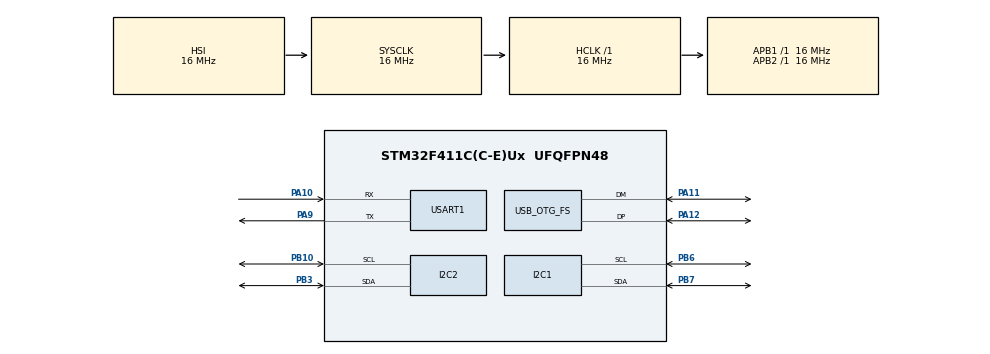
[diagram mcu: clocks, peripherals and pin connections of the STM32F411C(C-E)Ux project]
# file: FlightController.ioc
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FREERTOS.Tasks01=defaultTask,24,128,StartDefaultTask,Default,NULL,Dynamic,NULL,NULL;SensorTask,24,2048,SensorTaskEntry,Default,NULL,Dynamic,NULL,NULL
Mcu.Family=STM32F4
Mcu.Name=STM32F411C(C-E)Ux
Mcu.Package=UFQFPN48
NVIC.OTG_FS_IRQn=true\:5\:0\:false\:false\:true\:true\:false\:true\:true
NVIC.PriorityGroup=NVIC_PRIORITYGROUP_4
NVIC.TIM1_UP_TIM10_IRQn=true\:15\:0\:false\:false\:true\:false\:false\:true\:true
NVIC.TimeBase=TIM1_UP_TIM10_IRQn
NVIC.TimeBaseIP=TIM1
PA10.Mode=Asynchronous
PA10.Signal=USART1_RX
PA11.Mode=Device_Only
PA11.Signal=USB_OTG_FS_DM
PA12.Mode=Device_Only
PA12.Signal=USB_OTG_FS_DP
PA9.Mode=Asynchronous
PA9.Signal=USART1_TX
PB10.Mode=I2C
PB10.Signal=I2C2_SCL
PB3.Mode=I2C
PB3.Signal=I2C2_SDA
PB6.Mode=I2C
PB6.Signal=I2C1_SCL
PB7.Mode=I2C
PB7.Signal=I2C1_SDA
PH0\ -\ OSC_IN.Mode=HSE-External-Oscillator
PH0\ -\ OSC_IN.Signal=RCC_OSC_IN
PH1\ -\ OSC_OUT.Mode=HSE-External-Oscillator
PH1\ -\ OSC_OUT.Signal=RCC_OSC_OUT
ProjectManager.HeapSize=0x200
ProjectManager.StackSize=0x400
ProjectManager.TargetToolchain=CMake
RCC.48MHZClocksFreq_Value=48000000
RCC.AHBFreq_Value=16000000
RCC.APB1Freq_Value=16000000
RCC.APB2Freq_Value=16000000
RCC.CortexFreq_Value=16000000
RCC.HSE_VALUE=25000000
RCC.HSI_VALUE=16000000
RCC.LSE_VALUE=32768
RCC.PLLM=15
RCC.PLLN=144
RCC.PLLQ=5
RCC.SYSCLKFreq_VALUE=16000000
RCC.VCOOutputFreq_Value=240000000
USART1.VirtualMode=VM_ASYNC
USB_DEVICE.CLASS_NAME_FS=CDC
USB_DEVICE.VirtualMode=Cdc
USB_DEVICE.VirtualModeFS=Cdc_FS
USB_OTG_FS.VirtualMode=Device_Only
VP_FREERTOS_VS_CMSIS_V2.Mode=CMSIS_V2
VP_SYS_VS_tim1.Mode=TIM1
VP_USB_DEVICE_VS_USB_DEVICE_CDC_FS.Mode=CDC_FS
board=custom

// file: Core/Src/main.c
/* USER CODE BEGIN Header */
/**
  ******************************************************************************
  * @file           : main.c
  * @brief          : Main program body
  ******************************************************************************
  * @attention
  *
  * Copyright (c) 2026 STMicroelectronics.
  * All rights reserved.
  *
  * This software is licensed under terms that can be found in the LICENSE file
  * in the root directory of this software component.
  * If no LICENSE file comes with this software, it is provided AS-IS.
  *
  ******************************************************************************
  */
/* USER CODE END Header */
#include "main.h"
#include "cmsis_os.h"
#include "usb_device.h"

/* USER CODE BEGIN Includes */

#include "FreeRTOS.h"
#include "usbd_cdc.h"
#include "usbd_cdc_if.h"
#include "GyroData.h"
#include "filter.h"
#include <stdint.h>

#include "i2c_helper.h"

/* USER CODE END Includes */

/* USER CODE BEGIN PD */
//ADDRESS_DEF
#define SENSOR_ADDRESS (0x68 << 1)
#define CHIP_ID 0x00
#define DEVICE_STATUS_REG 0x01
#define SENSOR_STATUS_REG 0x02

#define READ_DELAY 5
/* USER CODE END PD */

I2C_HandleTypeDef hi2c1;
I2C_HandleTypeDef hi2c2;

UART_HandleTypeDef huart1;

/* Definitions for defaultTask */
osThreadId_t defaultTaskHandle;
const osThreadAttr_t defaultTask_attributes = {
  .name = "defaultTask",
  .stack_size = 128 * 4,
  .priority = (osPriority_t) osPriorityNormal,
};
/* Definitions for SensorTask */
osThreadId_t SensorTaskHandle;
const osThreadAttr_t SensorTask_attributes = {
  .name = "SensorTask",
  .stack_size = 2048 * 4,
  .priority = (osPriority_t) osPriorityNormal,
};
/* USER CODE BEGIN PV */

osThreadId_t sensorTask;
const osThreadAttr_t sensorTask_attrs = {
  .name = "sensorTask",
  .stack_size = 2048,
  .priority = (osPriority_t)osPriorityNormal,
};

/* USER CODE END PV */

void SystemClock_Config(void);
static void MX_GPIO_Init(void);
static void MX_I2C1_Init(void);
static void MX_USART1_UART_Init(void);
static void MX_I2C2_Init(void);
void StartDefaultTask(void *argument);
void SensorTaskEntry(void *argument);

/* USER CODE BEGIN PFP */
void SensorTask(void*);
void LogMessage(const char* msg) {
  uint32_t timeout = 100;  // ms
  uint32_t start = HAL_GetTick();

  while(CDC_Transmit_FS((uint8_t*)msg, strlen(msg) - 1) == USBD_BUSY) {
    if (HAL_GetTick() - start > timeout) {
      return;
    }
    vTaskDelay(1);
  }
}
/* USER CODE END PFP */

int main(void)
{

  /* MCU Configuration--------------------------------------------------------*/

  /* Reset of all peripherals, Initializes the Flash interface and the Systick. */
  HAL_Init();

  /* Configure the system clock */
  SystemClock_Config();

  /* Initialize all configured peripherals */
  MX_GPIO_Init();
  MX_I2C1_Init();
  MX_USART1_UART_Init();
  MX_I2C2_Init();
  /* USER CODE BEGIN 2 */
  MX_USB_DEVICE_Init();
  /* USER CODE END 2 */

  /* Init scheduler */
  osKernelInitialize();

  /* Create the thread(s) */
  /* creation of defaultTask */
  defaultTaskHandle = osThreadNew(StartDefaultTask, NULL, &defaultTask_attributes);

  /* creation of SensorTask */
  SensorTaskHandle = osThreadNew(SensorTaskEntry, NULL, &SensorTask_attributes);

  /* Start scheduler */
  osKernelStart();

  /* We should never get here as control is now taken by the scheduler */

  /* Infinite loop */
  while (1)
  {

  }
}

void SystemClock_Config(void)
{
  RCC_OscInitTypeDef RCC_OscInitStruct = {0};
  RCC_ClkInitTypeDef RCC_ClkInitStruct = {0};

  /** Configure the main internal regulator output voltage
  */
  __HAL_RCC_PWR_CLK_ENABLE();
  __HAL_PWR_VOLTAGESCALING_CONFIG(PWR_REGULATOR_VOLTAGE_SCALE1);

  /** Initializes the RCC Oscillators according to the specified parameters
  * in the RCC_OscInitTypeDef structure.
  */
  RCC_OscInitStruct.OscillatorType = RCC_OSCILLATORTYPE_HSI|RCC_OSCILLATORTYPE_HSE;
  RCC_OscInitStruct.HSEState = RCC_HSE_ON;
  RCC_OscInitStruct.HSIState = RCC_HSI_ON;
  RCC_OscInitStruct.HSICalibrationValue = RCC_HSICALIBRATION_DEFAULT;
  RCC_OscInitStruct.PLL.PLLState = RCC_PLL_ON;
  RCC_OscInitStruct.PLL.PLLSource = RCC_PLLSOURCE_HSE;
  RCC_OscInitStruct.PLL.PLLM = 15;
  RCC_OscInitStruct.PLL.PLLN = 144;
  RCC_OscInitStruct.PLL.PLLP = RCC_PLLP_DIV2;
  RCC_OscInitStruct.PLL.PLLQ = 5;
  if (HAL_RCC_OscConfig(&RCC_OscInitStruct) != HAL_OK)
  {
    Error_Handler();
  }

  /** Initializes the CPU, AHB and APB buses clocks
  */
  RCC_ClkInitStruct.ClockType = RCC_CLOCKTYPE_HCLK|RCC_CLOCKTYPE_SYSCLK
                              |RCC_CLOCKTYPE_PCLK1|RCC_CLOCKTYPE_PCLK2;
  RCC_ClkInitStruct.SYSCLKSource = RCC_SYSCLKSOURCE_HSI;
  RCC_ClkInitStruct.AHBCLKDivider = RCC_SYSCLK_DIV1;
  RCC_ClkInitStruct.APB1CLKDivider = RCC_HCLK_DIV1;
  RCC_ClkInitStruct.APB2CLKDivider = RCC_HCLK_DIV1;

  if (HAL_RCC_ClockConfig(&RCC_ClkInitStruct, FLASH_LATENCY_0) != HAL_OK)
  {
    Error_Handler();
  }
}

static void MX_I2C1_Init(void)
{

  hi2c1.Instance = I2C1;
  hi2c1.Init.ClockSpeed = 100000;
  hi2c1.Init.DutyCycle = I2C_DUTYCYCLE_2;
  hi2c1.Init.OwnAddress1 = 0;
  hi2c1.Init.AddressingMode = I2C_ADDRESSINGMODE_7BIT;
  hi2c1.Init.DualAddressMode = I2C_DUALADDRESS_DISABLE;
  hi2c1.Init.OwnAddress2 = 0;
  hi2c1.Init.GeneralCallMode = I2C_GENERALCALL_DISABLE;
  hi2c1.Init.NoStretchMode = I2C_NOSTRETCH_DISABLE;
  if (HAL_I2C_Init(&hi2c1) != HAL_OK)
  {
    Error_Handler();
  }

}

static void MX_I2C2_Init(void)
{

  hi2c2.Instance = I2C2;
  hi2c2.Init.ClockSpeed = 100000;
  hi2c2.Init.DutyCycle = I2C_DUTYCYCLE_2;
  hi2c2.Init.OwnAddress1 = 0;
  hi2c2.Init.AddressingMode = I2C_ADDRESSINGMODE_7BIT;
  hi2c2.Init.DualAddressMode = I2C_DUALADDRESS_DISABLE;
  hi2c2.Init.OwnAddress2 = 0;
  hi2c2.Init.GeneralCallMode = I2C_GENERALCALL_DISABLE;
  hi2c2.Init.NoStretchMode = I2C_NOSTRETCH_DISABLE;
  if (HAL_I2C_Init(&hi2c2) != HAL_OK)
  {
    Error_Handler();
  }

}

static void MX_USART1_UART_Init(void)
{

  huart1.Instance = USART1;
  huart1.Init.BaudRate = 115200;
  huart1.Init.WordLength = UART_WORDLENGTH_8B;
  huart1.Init.StopBits = UART_STOPBITS_1;
  huart1.Init.Parity = UART_PARITY_NONE;
  huart1.Init.Mode = UART_MODE_TX_RX;
  huart1.Init.HwFlowCtl = UART_HWCONTROL_NONE;
  huart1.Init.OverSampling = UART_OVERSAMPLING_16;
  if (HAL_UART_Init(&huart1) != HAL_OK)
  {
    Error_Handler();
  }

}

static void MX_GPIO_Init(void)
{

  /* GPIO Ports Clock Enable */
  __HAL_RCC_GPIOH_CLK_ENABLE();
  __HAL_RCC_GPIOB_CLK_ENABLE();
  __HAL_RCC_GPIOA_CLK_ENABLE();

}

/* USER CODE BEGIN 4 */

// void SensorTask(void*) {

//   while(1) {

//     vTaskDelay(pdMS_TO_TICKS(READ_DELAY));
//   }
// }

/* USER CODE END 4 */

void StartDefaultTask(void *argument)
{
  /* init code for USB_DEVICE */
  MX_USB_DEVICE_Init();
  for(;;)
  {
    osDelay(1);
  }
}

void SensorTaskEntry(void *argument)
{
  /* USER CODE BEGIN SensorTaskEntry */
uint8_t chip_id = 13;
uint8_t buf[3] = {0,0,14};
//checking communication
HAL_StatusTypeDef ret = HAL_I2C_Mem_Read(&hi2c2, SENSOR_ADDRESS, CHIP_ID, I2C_MEMADD_SIZE_8BIT, buf, sizeof(buf), 1000);

if (ret == HAL_ERROR) {
    uint32_t err = HAL_I2C_GetError(&hi2c2);

    // err == HAL_I2C_ERROR_AF   (0x04) -> Address/Wiring/NACK issue
    // err == HAL_I2C_ERROR_BERR (0x01) -> Bus error / missing pull-ups
    // err == HAL_I2C_ERROR_ARLO (0x02) -> Arbitration lost
}
uint8_t found_addr = 0;
for (uint8_t i = 1; i < 128; i++) {
    if (HAL_I2C_IsDeviceReady(&hi2c2, (i << 1), 1, 10) == HAL_OK) {
        found_addr = i;
        break; // Found device!
    }
}
chip_id = buf[2];

buf[2]=255;
if (chip_id != 0x43) {
    LogMessage("Sensor Communication Error!");
}

  // Sensor initialize
  uint8_t device_status = 99;
  uint8_t sensor_status =0;

  HAL_I2C_Mem_Read(&hi2c2,
                 SENSOR_ADDRESS,
                 DEVICE_STATUS_REG,
                 I2C_MEMADD_SIZE_8BIT,
                 buf,
                 sizeof(buf),
                 1000);
  device_status=buf[2];
  buf[2]=0xff;
  if(device_status==0b0){
    //power ok
    LogMessage("Power OK");

    //cehcking sensor status
    HAL_I2C_Mem_Read(&hi2c2,
                 SENSOR_ADDRESS,
                 SENSOR_STATUS_REG,
                 I2C_MEMADD_SIZE_8BIT,
                 buf,
                 sizeof(buf),
                 1000);
    sensor_status=buf[2];
    buf[2]=0xff;
    if(sensor_status==0b1){
      LogMessage("initialisation OK");
    }else{
      LogMessage("initialisation ERR");
    }
  }else{
    LogMessage("Power ERR");
  }

  //normal power mode
  // Write to register 0x20
uint8_t data1[] = {0xa7, 0x40};
HAL_I2C_Mem_Write(&hi2c2,
                  SENSOR_ADDRESS,
                  0x20,           // Register address
                  I2C_MEMADD_SIZE_8BIT,
                  data1,
                  sizeof(data1),  // 2 bytes
                  1000);

// Write to register 0x21
uint8_t data2[] = {0x4B, 0x40};
HAL_I2C_Mem_Write(&hi2c2,
                  SENSOR_ADDRESS,
                  0x21,
                  I2C_MEMADD_SIZE_8BIT,
                  data2,
                  sizeof(data2),  // 2 bytes
                  1000);

  char dataMsg[100];
  struct MPU6050Data data;
  int counter=0;
  //HAL_StatusTypeDef dataReadStatus;
  /* Infinite loop */
  for(;;)
  {
    //reading accel data
    read_register_burst_16(SENSOR_ADDRESS, 0x03, 6, data.accel_gyro_sample_16,2);
    PopulateRealValues(&data,counter);
    //ApplyMadgwickFilter(&data);
    //print(f"{ax},{ay},{az},{gx},{gy},{gz}")
    //snprintf(dataMsg, sizeof(dataMsg), "%d,%d,%d,%d,%d,%d                  \r\n",data.accel_x_raw,data.accel_y_raw,data.accel_z_raw,data.gyro_x_raw, data.gyro_y_raw, data.gyro_z_raw);
    snprintf(dataMsg, sizeof(dataMsg), "%.5f,%.5f,%.5f,%.5f   \r\n", data.orientationQuaternion[0],data.orientationQuaternion[1],data.orientationQuaternion[2],data.orientationQuaternion[3]);
    LogMessage(dataMsg);
    counter++;

    osDelay(100);
  }
  /* USER CODE END SensorTaskEntry */
}

void HAL_TIM_PeriodElapsedCallback(TIM_HandleTypeDef *htim)
{
  if (htim->Instance == TIM1)
  {
    HAL_IncTick();
  }
}

void Error_Handler(void)
{
  __disable_irq();
  while (1)
  {
  }
}
